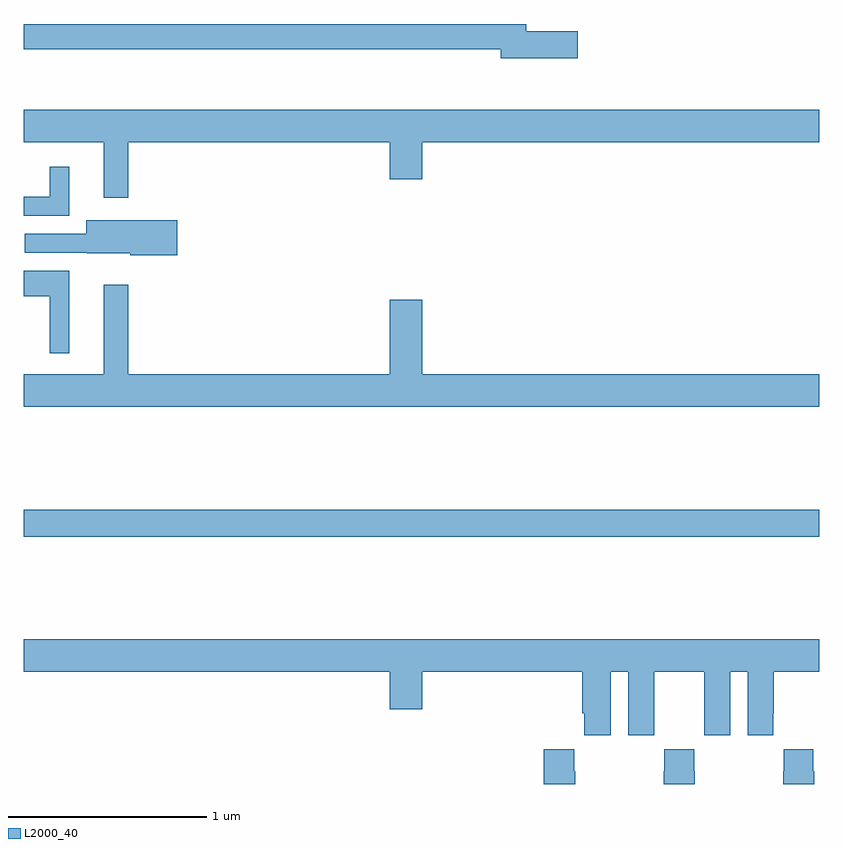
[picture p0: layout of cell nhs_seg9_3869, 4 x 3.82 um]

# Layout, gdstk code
import gdstk
lib = gdstk.Library(unit=1e-6, precision=1e-09)
def R(c, l, rs):  # rectangles x0, y0, x1, y1
    for r in rs: c.add(gdstk.rectangle(r[:2], r[2:], *l))
def P(c, l, *ps):  # polygons
    for p in ps: c.add(gdstk.Polygon(p, *l))
L2000_40 = (2000, 40)

nhs_seg9_3869 = lib.new_cell('nhs_seg9_3869')
R(nhs_seg9_3869, L2000_40, [(331,1219.744,335,1219.88)])
P(nhs_seg9_3869, L2000_40, [(333.787,1222.286),(333.526,1222.286),(333.526,1222.322),(331,1222.322),(331,1222.194),(333.398,1222.194),(333.398,1222.151),(333.787,1222.151)],
  [(331.525,1221.728),(332.84,1221.728),(332.84,1221.54),(333.004,1221.54),(333.004,1221.728),(335,1221.728),(335,1221.892),(331,1221.892),(331,1221.728),(331.403,1221.728),(331.403,1221.447),(331.525,1221.447)],
  [(331.228,1221.604),(331.13,1221.604),(331.13,1221.453),(331,1221.453),(331,1221.357),(331.228,1221.357)],
  [(331.771,1221.336),(331.313,1221.336),(331.313,1221.267),(331.005,1221.267),(331.005,1221.171),(331.317,1221.171),(331.317,1221.17),(331.536,1221.17),(331.536,1221.158),(331.771,1221.158)],
  [(331.228,1221.082),(331,1221.082),(331,1220.954),(331.13,1220.954),(331.13,1220.667),(331.228,1220.667)],
  [(335,1220.56),(333.004,1220.56),(333.004,1220.935),(332.84,1220.935),(332.84,1220.56),(331.525,1220.56),(331.525,1221.01),(331.403,1221.01),(331.403,1220.56),(331,1220.56),(331,1220.396),(335,1220.396)],
  [(333.952,1219.064),(334.04,1219.064),(334.04,1218.744),(334.17,1218.744),(334.17,1218.856),(334.171,1218.856),(334.171,1219.064),(334.421,1219.064),(334.421,1218.856),(334.422,1218.856),(334.422,1218.744),(334.552,1218.744),(334.552,1219.064),(334.64,1219.064),(334.64,1218.744),(334.77,1218.744),(334.77,1218.856),(334.771,1218.856),(334.771,1219.064),(335,1219.064),(335,1219.228),(331,1219.228),(331,1219.064),(332.84,1219.064),(332.84,1218.876),(333.004,1218.876),(333.004,1219.064),(333.809,1219.064),(333.809,1218.856),(333.818,1218.856),(333.818,1218.744),(333.952,1218.744)],
  [(333.774,1218.563),(333.767,1218.563),(333.767,1218.676),(333.614,1218.676),(333.614,1218.5),(333.774,1218.5)],
  [(334.374,1218.563),(334.371,1218.563),(334.371,1218.676),(334.221,1218.676),(334.221,1218.563),(334.219,1218.563),(334.219,1218.5),(334.374,1218.5)],
  [(334.974,1218.563),(334.971,1218.563),(334.971,1218.676),(334.821,1218.676),(334.821,1218.563),(334.819,1218.563),(334.819,1218.5),(334.974,1218.5)])

lib.write_gds('nhs_seg9_3869.gds')
